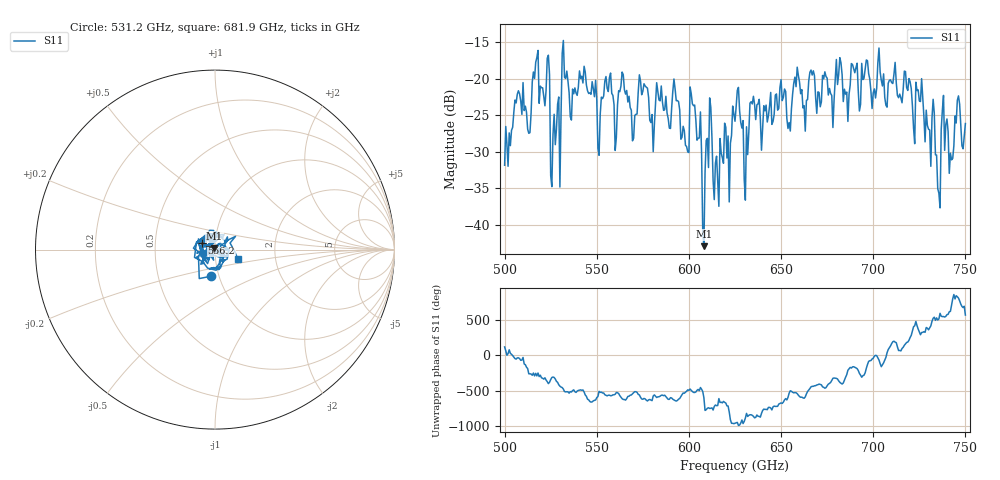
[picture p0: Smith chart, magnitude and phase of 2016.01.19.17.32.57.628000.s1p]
!Created with skrf (http://scikit-rf.org).
# GHz S RI R 50.0
!freq ReS11 ImS11
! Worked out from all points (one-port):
!   401 points, 500 GHz to 750 GHz, reference 50 ohm
!   lowest |S11| = -42.9 dB at 608.1 GHz (marker M1), VSWR 1.01, Z = 49.7 + j0.622 ohm
!   |S11| at or under -10 dB: start of sweep to end of sweep
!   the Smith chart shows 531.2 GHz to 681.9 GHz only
!   S11 on the Smith chart (normalised r, x): 531.2 GHz: 0.92, -0.28; 556.2 GHz: 0.86, +0.06; 681.9 GHz: 1.29, -0.14
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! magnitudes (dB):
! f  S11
! 500 GHz  -31.8
! 506.9 GHz  -22.1
! 513.1 GHz  -27.5
! 516.9 GHz  -17.7
! 523.1 GHz  -17.2
! 526.2 GHz  -27.7
! 531.2 GHz  -16.5
! 542.5 GHz  -20.6
! 551.9 GHz  -24.9
! 556.2 GHz  -21.7
! 562.5 GHz  -21.7
! 593.8 GHz  -23.0
! 598.8 GHz  -29.3
! 601.9 GHz  -23.4
! 608.1 GHz  -42.9
! 610.6 GHz  -32.2
! 615 GHz  -30.6
! 625 GHz  -25.8
! 631.2 GHz  -26.6
! 634.4 GHz  -23.4
! 656.2 GHz  -22.1
! 681.9 GHz  -17.1
! 687.5 GHz  -20.9
! 718.8 GHz  -21.6
! 733.1 GHz  -24.7
! 735 GHz  -35.1
! 738.8 GHz  -29.8
! 750 GHz  -26.1
